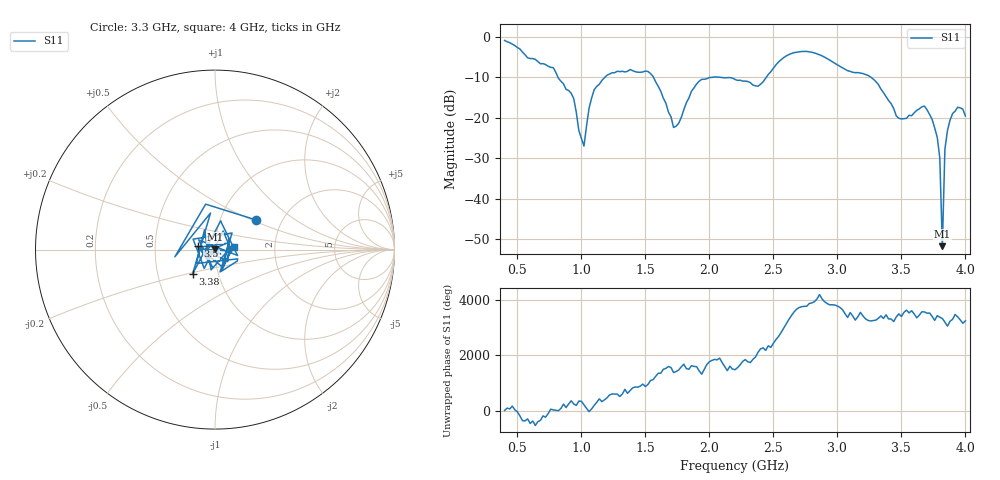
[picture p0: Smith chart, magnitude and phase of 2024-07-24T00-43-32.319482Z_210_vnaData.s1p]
!Created with skrf (http://scikit-rf.org).
# Hz S RI R 50.0
!freq ReS11 ImS11
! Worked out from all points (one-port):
!   181 points, 400 MHz to 4 GHz, reference 50 ohm
!   lowest |S11| = -51.8 dB at 3.82 GHz (marker M1), VSWR 1.01, Z = 50 + j0.256 ohm
!   |S11| at or under -10 dB: 817.4 MHz to 1.182 GHz (364.7 MHz wide, 36.5 % of centre); 1.564 GHz to 2.011 GHz (447.8 MHz wide, 25.1 % of centre); 3.264 GHz to end of sweep (the widest 3 of 4)
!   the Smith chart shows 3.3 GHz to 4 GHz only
!   S11 on the Smith chart (normalised r, x): 3.3 GHz: 1.48, +0.53; 3.38 GHz: 0.75, -0.21; 3.5 GHz: 0.83, +0.03; 4 GHz: 1.23, +0.04
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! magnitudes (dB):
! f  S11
! 400 MHz  -0.8
! 780 MHz  -7.6
! 860 MHz  -11.6
! 940 MHz  -15.2
! 1.02 GHz  -27.0
! 1.06 GHz  -17.6
! 1.1 GHz  -13.0
! 1.3 GHz  -8.6
! 1.54 GHz  -9.0
! 1.72 GHz  -22.4
! 1.76 GHz  -21.4
! 1.92 GHz  -10.9
! 2.2 GHz  -10.5
! 2.38 GHz  -12.2
! 2.66 GHz  -3.9
! 3.1 GHz  -8.5
! 3.3 GHz  -11.0
! 3.38 GHz  -14.8
! 3.5 GHz  -20.3
! 3.56 GHz  -19.4
! 3.68 GHz  -17.1
! 3.78 GHz  -24.8
! 3.8 GHz  -29.9
! 3.82 GHz  -51.8
! 3.84 GHz  -27.8
! 3.86 GHz  -23.1
! 3.94 GHz  -17.4
! 4 GHz  -19.5
